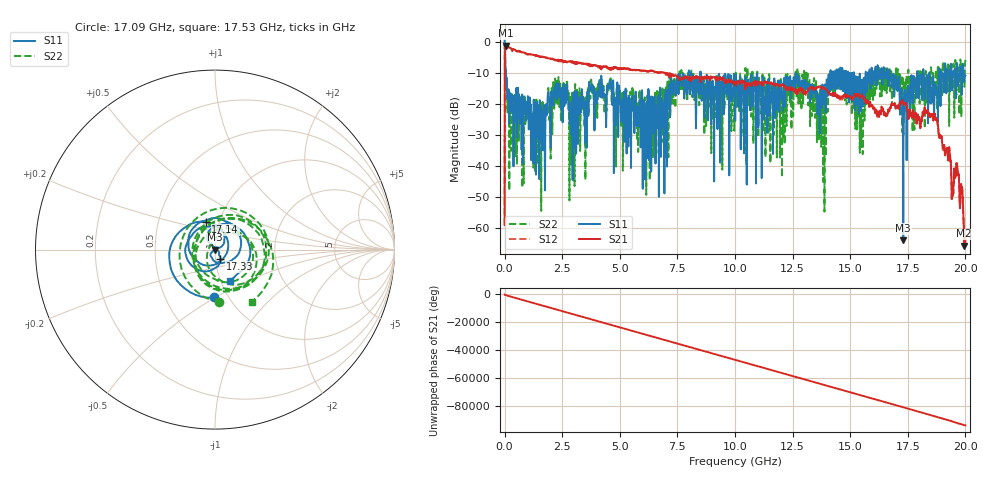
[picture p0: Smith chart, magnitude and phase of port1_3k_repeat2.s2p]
! MS46122B
! 2250307/22442219
! 8/1/2025 10:37:16 AM
! C:\USERS\SPARKY\DOCUMENTS\VNA_DATA\AUGUST1_2025\3K\PORT1_REPEAT2.S2P
! CHANNEL.1
! TR.MEASUREMENT
! RAW.DATA
# GHZ S RI R 50.0
! FREQ.GHZ  S11RE  S11IM  S21RE  S21IM  S12RE  S12IM  S22RE  S22IM
!; PortSelection: Port_12
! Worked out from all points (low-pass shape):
!   10001 points, 1 MHz to 20 GHz, reference 50 ohm
!   highest |S21| = -1.31 dB at 45 MHz (marker M1); lowest = -65.6 dB at 19.95 GHz (marker M2)
!   |S21| within 3 dB of the highest: 18.16 MHz to 1.273 GHz (1.255 GHz wide, 194 % of centre); 1.291 GHz to 1.306 GHz (14.47 MHz wide, 1.11 % of centre) (the widest 2 of 4)
!   lowest |S11| = -64.0 dB at 17.3 GHz (marker M3), VSWR 1.00, Z = 49.9 - j0.0124 ohm
!   |S11| at or under -10 dB: 63.08 MHz to 7.997 GHz (7.934 GHz wide, 197 % of centre); 8.512 GHz to 14.13 GHz (5.622 GHz wide, 49.7 % of centre); 16.72 GHz to 17.9 GHz (1.185 GHz wide, 6.84 % of centre) (the widest 3 of 42)
!   |S22| runs from -54.7 to -0.1 dB; largest |S21 - S12| = 0.062
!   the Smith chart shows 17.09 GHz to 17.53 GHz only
!   S11 on the Smith chart (normalised r, x): 17.09 GHz: 0.86, -0.49; 17.14 GHz: 0.86, +0.27; 17.33 GHz: 1.06, -0.11; 17.53 GHz: 1.10, -0.40
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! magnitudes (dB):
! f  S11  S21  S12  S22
! 1 MHz  0.4  -59.1  -59.1  -0.1
! 45 MHz  -10.2  -1.3  -1.6  -12.0
! 131 MHz  -17.4  -1.6  -1.7  -19.6
! 1.231 GHz  -29.6  -4.2  -4.2  -29.2
! 2.265 GHz  -18.0  -5.9  -5.9  -12.3
! 3.335 GHz  -18.8  -7.0  -7.0  -16.4
! 6.669 GHz  -17.8  -10.0  -10.1  -21.6
! 10 GHz  -19.2  -12.9  -12.9  -12.0
! 13.33 GHz  -17.7  -14.8  -14.9  -19.5
! 13.88 GHz  -14.3  -14.8  -14.8  -54.7
! 14.58 GHz  -8.9  -18.3  -18.9  -9.6
! 15.45 GHz  -20.2  -17.4  -17.5  -23.7
! 16.67 GHz  -12.6  -22.0  -22.1  -14.5
! 17.09 GHz  -11.5  -21.4  -21.3  -10.7
! 17.14 GHz  -15.8  -19.9  -20.2  -11.0
! 17.3 GHz  -64.0  -19.7  -19.6  -11.8
! 17.33 GHz  -24.5  -20.1  -20.1  -20.7
! 17.53 GHz  -14.4  -24.8  -24.7  -9.0
! 18.72 GHz  -14.8  -25.0  -25.0  -9.5
! 19.63 GHz  -6.8  -39.4  -39.2  -10.4
! 19.95 GHz  -12.9  -65.6  -65.8  -12.6
! 20 GHz  -11.0  -62.4  -63.4  -5.9
